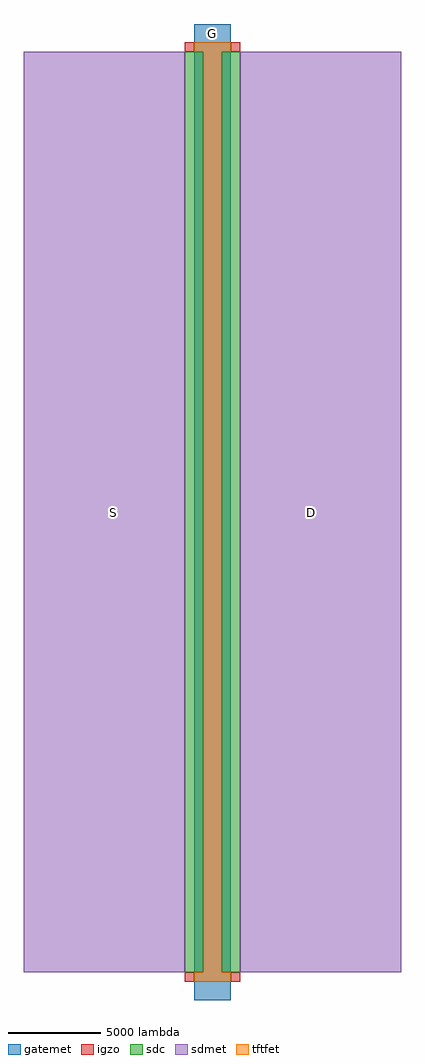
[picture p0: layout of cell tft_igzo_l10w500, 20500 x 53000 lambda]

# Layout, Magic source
magic
tech igzo_mmm_lab
<< igzo >>
rect -1500 25000 -1000 25500
rect 1000 25000 1500 25500
rect -1500 -25500 -1000 -25000
rect 1000 -25500 1500 -25000
<< tftfet >>
rect -1000 25000 1000 25500
rect -500 -25000 500 25000
rect -1000 -25500 1000 -25000
<< sdc >>
rect -1500 -25000 -500 25000
rect 500 -25000 1500 25000
<< sdmet >>
rect -10250 -25000 -1500 25000
rect 1500 -25000 10250 25000
<< gatemet >>
rect -1000 -26500 1000 26500
<< labels >>
rlabel sdmet s -5863 -488 -4887 488 4 S
port 3 nsew
rlabel sdmet s 4887 -488 5863 488 4 D
port 5 nsew
rlabel gatemet s -488 25512 488 26488 4 G
port 7 nsew
<< end >>
